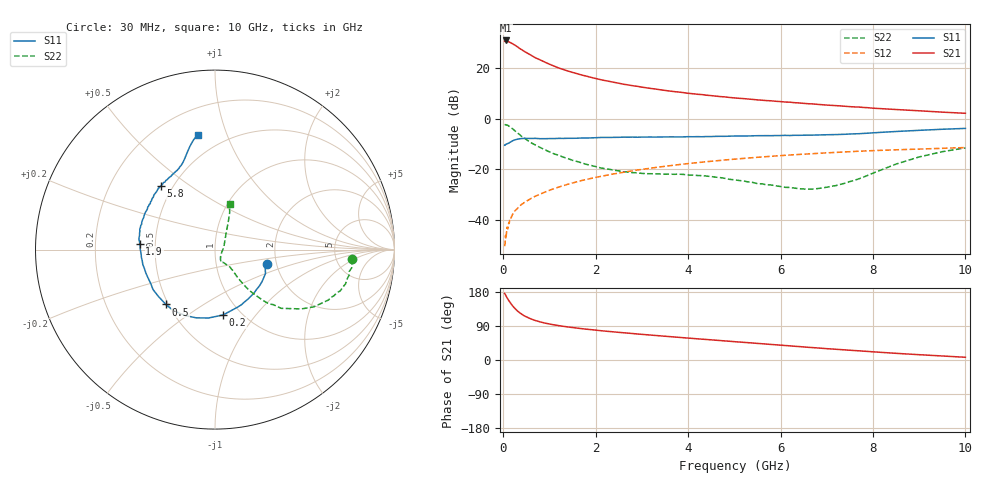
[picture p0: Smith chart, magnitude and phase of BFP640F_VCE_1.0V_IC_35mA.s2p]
! Infineon Technologies  Discrete & RF Semiconductors
! BFP640F
! VCE =  1.0 V,  IC =  35 mA
! Common Emitter S-Parameters:  Apr 2013
# GHz  S  MA  R  50
!  f  S11  S21  S12  S22
! GHz  MAG  ANG  MAG  ANG  MAG  ANG  MAG  ANG
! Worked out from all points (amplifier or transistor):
!   99 points, 30 MHz to 10 GHz, reference 50 ohm
!   highest |S21| = 31.1 dB at 60 MHz (marker M1)
!   |S21| within 3 dB of that: start of sweep to 342.3 MHz
!   unconditionally stable (mu >= 1): start of sweep to 69.77 MHz; 1.015 GHz to end of sweep
!   at 350 MHz: K = 0.72, MSG = 31.3 dB, |S12| = -34.6 dB
!   at 3.5 GHz: K = 1.13, MAG = 12.8 dB, |S12| = -18.8 dB
!   at 10 GHz: K = 1.09, MAG = 5.0 dB, |S12| = -11.4 dB
!   S11 on the Smith chart (normalised r, x): 30 MHz: 1.77, -0.32; 200 MHz: 0.83, -0.70; 500 MHz: 0.48, -0.36; 1.9 GHz: 0.41, +0.03; 5.8 GHz: 0.43, +0.39; 10 GHz: 0.36, +0.79
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0.03  0.2995 -15.8  34.42 175.4  0.003 53.2  0.7673 -3.9
0.04  0.2988 -20.6  34.56 173.8  0.0034 66.5  0.7668 -5.8
0.05  0.3112 -25.3  35.81 171.9  0.0049 60.7  0.7683 -7.6
0.06  0.3132 -29.4  35.83 169.4  0.0042 56.9  0.7573 -9.4
0.08  0.3197 -39.3  35.47 164.7  0.0071 70.4  0.7527 -12.9
0.12  0.3316 -56.6  33.7 156.9  0.0087 67.6  0.7184 -19.8
0.2  0.3671 -83.0  30.84 143.2  0.0127 65.4  0.637 -30.0
0.3  0.3942 -105.3  27.12 130.3  0.0165 65.6  0.5327 -38.1
0.4  0.4077 -121.2  23.51 121.0  0.0202 63.3  0.4477 -43.3
0.5  0.4102 -131.9  20.62 113.9  0.0233 63.0  0.3887 -46.7
0.7  0.4108 -147.2  16.17 104.0  0.0295 64.7  0.3017 -49.8
0.9  0.4051 -157.1  13.34 97.5  0.0353 65.4  0.2448 -50.8
1.2  0.4108 -168.5  10.21 90.7  0.0445 66.0  0.1893 -50.8
1.7  0.4173 179.4  7.388 82.7  0.06 65.8  0.1338 -49.5
1.9  0.4203 175.6  6.646 80.1  0.0661 65.1  0.1194 -49.9
2.6  0.4348 164.7  4.865 71.9  0.0874 62.6  0.0894 -55.8
3.4  0.4377 154.6  3.775 63.7  0.112 58.7  0.0808 -62.3
5.1  0.4575 136.8  2.559 47.5  0.1619 48.7  0.0601 -59.7
5.8  0.4646 130.5  2.279 41.0  0.1814 44.3  0.049 -49.2
6.7  0.4763 121.1  1.976 32.7  0.2045 38.3  0.0407 -15.0
8.5  0.5623 106.0  1.533 17.6  0.2438 26.4  0.127 59.1
10  0.6472 98.6  1.29 7.2  0.2702 18.1  0.2662 72.3
